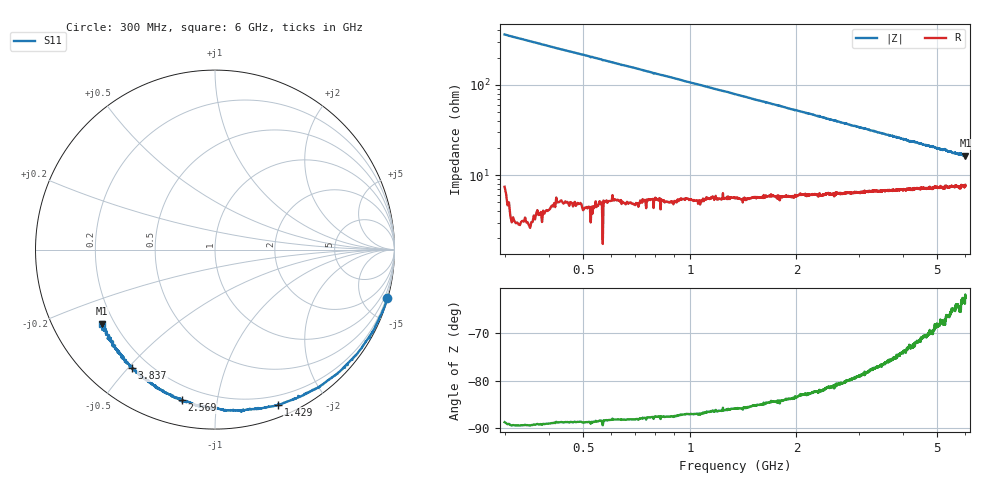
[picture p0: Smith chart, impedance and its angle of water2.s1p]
# GHZ S RI R 50.000000000000
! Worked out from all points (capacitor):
!   2001 points, 300 MHz to 6 GHz, reference 50 ohm
!   read as one part to ground: C = 1.48 pF near 328.5 MHz
!   lowest |Z| = 16.5 ohm at 6 GHz (marker M1)
!   S11 on the Smith chart (normalised r, x): 300 MHz: 0.15, -7.22; 1.429 GHz: 0.11, -1.48; 2.569 GHz: 0.12, -0.80; 3.837 GHz: 0.14, -0.51; 6 GHz: 0.15, -0.29
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0.3  0.957 -0.2702
0.50235  0.8892 -0.4383
0.6591  0.8142 -0.5521
0.8187  0.7246 -0.6483
1.0125  0.6073 -0.7453
1.2006  0.489 -0.8125
1.4286  0.3509 -0.8661
1.725  0.1795 -0.8919
1.95585  0.0568 -0.893
2.4375  -0.1441 -0.8509
2.5686  -0.1849 -0.8385
2.86215  -0.2793 -0.7968
3.15  -0.3411 -0.7573
3.4122  -0.3982 -0.7146
3.83685  -0.4622 -0.6591
3.8625  -0.4651 -0.6506
4.1646  -0.5126 -0.5982
4.2615  -0.5123 -0.5977
4.575  -0.5468 -0.5564
4.8543  -0.5661 -0.5323
5.1621  -0.5933 -0.4896
5.24475  -0.5915 -0.4974
5.2875  -0.5893 -0.4816
5.5155  -0.6121 -0.4494
5.7036  -0.6199 -0.4343
5.79765  -0.6254 -0.4427
5.8917  -0.6244 -0.4181
6  -0.6313 -0.4134
